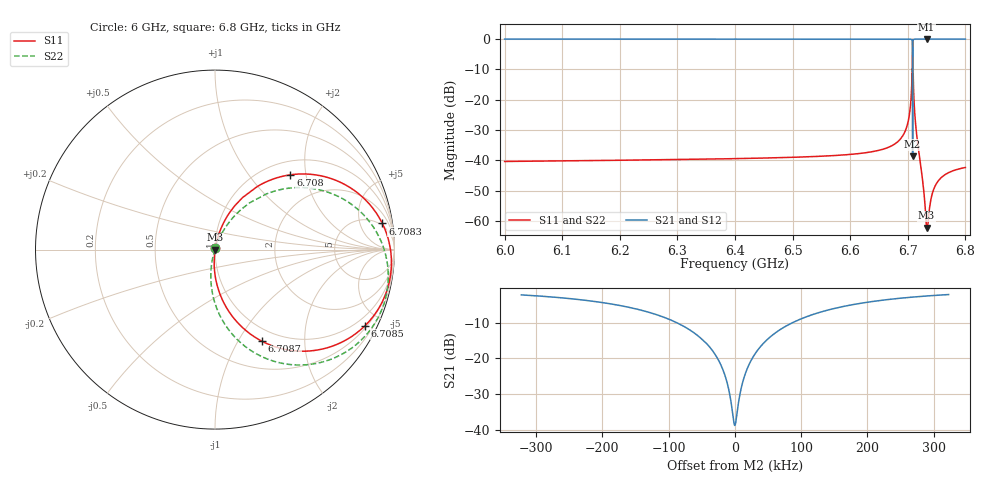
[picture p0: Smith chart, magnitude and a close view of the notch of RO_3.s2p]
! Sonnet Data File
! From: em Version : 14.52
! From Project: RO_3
! Data is De-embedded
! Data File Written: 01/08/2019 21:32:08
!< HDATE 01/08/2019 00:47:59
!< MDATE 01/08/2019 20:32:01
# GHZ S MA R 50.00000
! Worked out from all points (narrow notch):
!   1159 points, 6 GHz to 6.8 GHz, reference 50 ohm
!   highest |S21| = 0.00 dB at 6.7325 GHz (marker M1); lowest = -38.7 dB at 6.7084 GHz (marker M2)
!   notch at M2: 38.0 dB deep, 54.2 kHz wide at half that depth
!   lowest |S11| = -62.2 dB at 6.7325 GHz (marker M3), VSWR 1.00, Z = 50.1 - j0.0505 ohm
!   |S11| at or under -10 dB: start of sweep to 6.7076 GHz; 6.7091 GHz to end of sweep
!   |S22| runs from -62.2 to -0.1 dB; largest |S21 - S12| = 0
!   S11 on the Smith chart (normalised r, x): 6 GHz: 1.00, +0.02; 6.708 GHz: 1.27, +1.63; 6.7083 GHz: 4, +11; 6.7085 GHz: 0.59, -4.10; 6.7087 GHz: 0.83, -1.27; 6.8 GHz: 1.00, +0.01
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6  0.009615 78.8  1 -12.2  1 -12.2  0.009615 76.9
!< P1 F=6.0 Eeff=(5.67081746 -5.1701e-6) Z0=(51.7017575 2.35733e-5) R=0.0106902 C=0.00226256
!< P2 F=6.0 Eeff=(5.67081746 -5.1701e-6) Z0=(51.7017575 2.35733e-5) R=0.0106902 C=0.00226256
6.135  0.009909 78.6  1 -12.4  1 -12.4  0.009909 76.6
6.2675  0.01025 78.3  0.9999 -12.7  0.9999 -12.7  0.01025 76.2
6.4  0.0107 78.2  0.9999 -13.0  0.9999 -13.0  0.0107 75.9
6.535  0.01157 78.0  0.9999 -13.3  0.9999 -13.3  0.01157 75.3
6.6675  0.01662 78.4  0.9999 -13.8  0.9999 -13.8  0.01662 73.9
6.6998  0.04059 78.3  0.9992 -15.3  0.9992 -15.3  0.04059 71.1
6.7054  0.09727 75.6  0.9952 -18.6  0.9952 -18.6  0.09727 67.2
6.7078  0.4206 56.3  0.9051 -37.9  0.9051 -37.9  0.4206 47.4
6.708015  0.5915 44.8  0.8013 -49.2  0.8013 -49.2  0.5915 35.8
6.70829  0.9437 8.9  0.2978 -83.5  0.2978 -83.5  0.9436 -0.2
6.708347  0.9838 -2.9  0.09694 -90.6  0.09694 -90.6  0.9838 -12.0
6.708372  0.9884 -8.4  0.01163 -11.9  0.01163 -11.9  0.9884 -17.5
6.708399  0.9834 -14.1  0.1002 64.7  0.1002 64.7  0.9834 -23.2
6.70846  0.9371 -26.9  0.3178 56.5  0.3178 56.5  0.9371 -36.1
6.708735  0.5742 -62.8  0.8138 22.1  0.8138 22.1  0.5742 -72.0
6.7094  0.2354 -84.5  0.9712 0.6  0.9712 0.6  0.2354 -93.9
6.7136  0.03936 -95.2  0.9992 -10.7  0.9992 -10.7  0.03935 -106.2
6.7296  0.002003 -79.0  1 -12.9  1 -12.9  0.002002 -126.7
6.7325  0.00078 -40.3  1 -13.0  1 -13.0  0.0007772 -165.6
6.76  0.005406 74.1  1 -13.4  1 -13.4  0.005406 79.1
6.8  0.007652 76.0  1 -13.6  1 -13.6  0.007652 76.8
